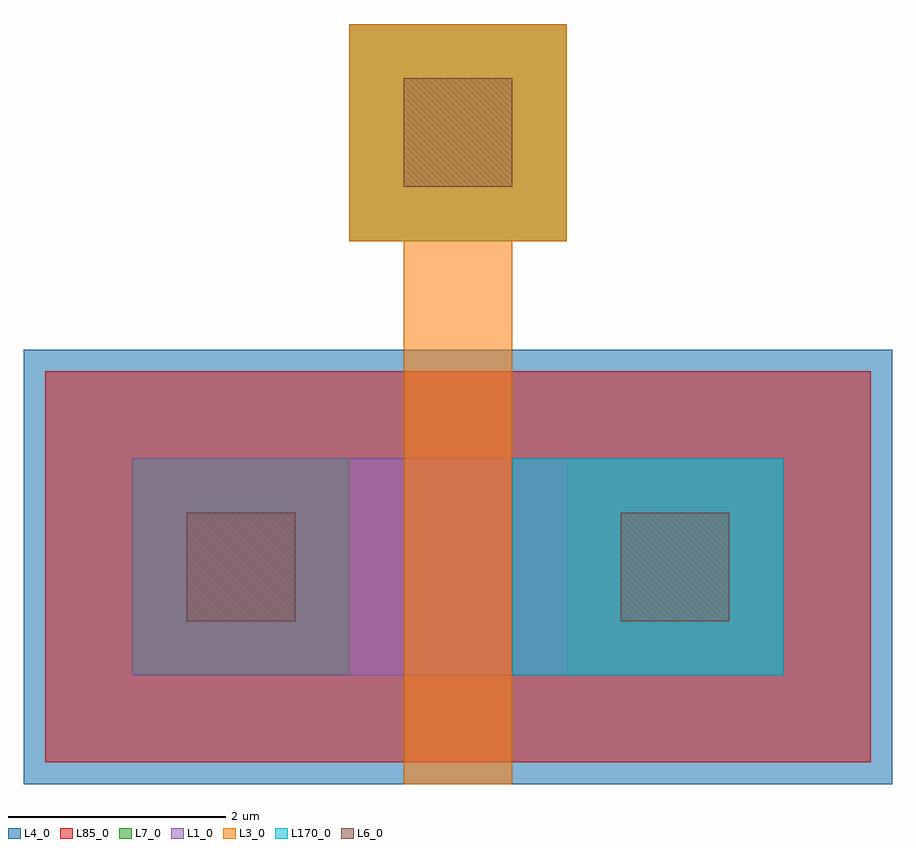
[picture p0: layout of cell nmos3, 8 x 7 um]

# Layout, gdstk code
import gdstk
lib = gdstk.Library(unit=1e-6, precision=5e-10)
def R(c, l, rs):  # rectangles x0, y0, x1, y1
    for r in rs: c.add(gdstk.rectangle(r[:2], r[2:], *l))
L1_0 = (1, 0)
L3_0 = (3, 0)
L4_0 = (4, 0)
L6_0 = (6, 0)
L7_0 = (7, 0)
L85_0 = (85, 0)
L170_0 = (170, 0)

nmos3 = lib.new_cell('nmos3')
R(nmos3, L1_0, [(1,1,7,3)])
R(nmos3, L3_0, [(3.5,0,4.5,5), (3.6,3.5,4.4,3.9), (3,5,5,7)])
R(nmos3, L4_0, [(0,0,8,4)])
R(nmos3, L6_0, [(1.5,1.5,2.5,2.5), (5.5,1.5,6.5,2.5), (3.5,5.5,4.5,6.5)])
R(nmos3, L7_0, [(1,1,3,3), (5,1,7,3), (1.3,1.3,2.7,2.7), (5.3,1.3,6.7,2.7), (3,5,5,7), (3.3,5.3,4.7,6.7)])
R(nmos3, L85_0, [(0.2,0.2,7.8,3.8)])
R(nmos3, L170_0, [(4.5,1,7,3)])

lib.write_gds('nmos3.gds')
